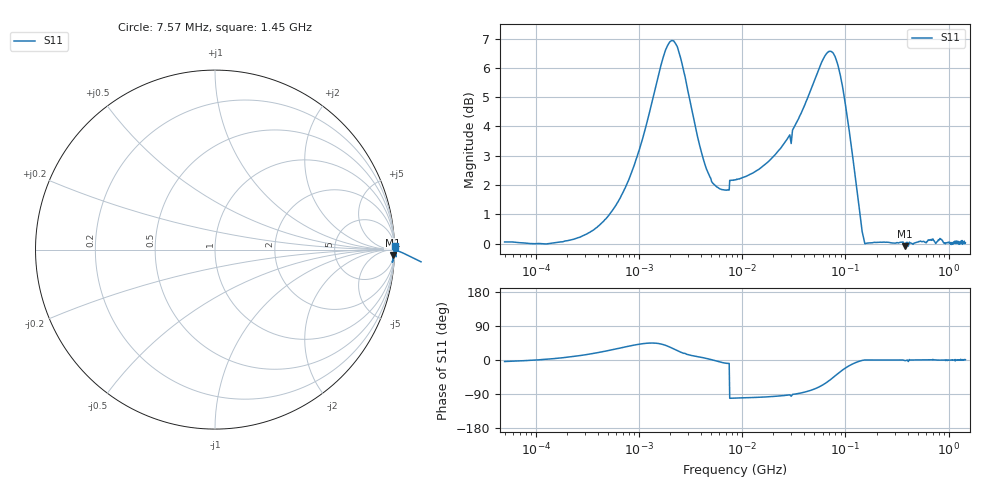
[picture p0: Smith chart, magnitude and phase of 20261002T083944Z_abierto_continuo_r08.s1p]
! piloto_saltos / abierto_continuo / r08
# HZ S RI R 50
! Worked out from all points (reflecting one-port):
!   501 points, 50 kHz to 1.45 GHz, reference 50 ohm
!   lowest |S11| = -0.1 dB at 379 MHz (marker M1), VSWR 208.86, Z = 868 - j2.88e+03 ohm
!   phase of S11 starts at -4 deg and turns +5 deg over the sweep
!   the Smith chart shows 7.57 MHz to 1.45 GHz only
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50000  1.005 -0.0706
183000  1.002 0.1048
363500  1.007 0.3165
658000  1.019 0.6266
1180000  1.146 1.111
1630000  1.49 1.354
1990000  1.829 1.24
2440000  1.958 0.8174
3430000  1.588 0.2947
4960000  1.292 0.029
7300000  1.221 -0.1918
7750000  -0.2422 -1.26
8560000  -0.235 -1.264
1.72e7  -0.1763 -1.361
3.16e7  -0.0115 -1.577
4.69e7  0.3387 -1.812
5.68e7  0.698 -1.885
6.49e7  1.044 -1.828
7.39e7  1.398 -1.598
8.65e7  1.65 -1.099
9.82e7  1.626 -0.674
1e8  1.609 -0.6198
1.18e8  1.378 -0.2451
1.36e8  1.148 -0.068
1.63e8  1.003 3.8e-05
3.79e8  0.99 -0.0315
4.06e8  0.9881 -0.0704
1.45e9  1.003 0.0179
